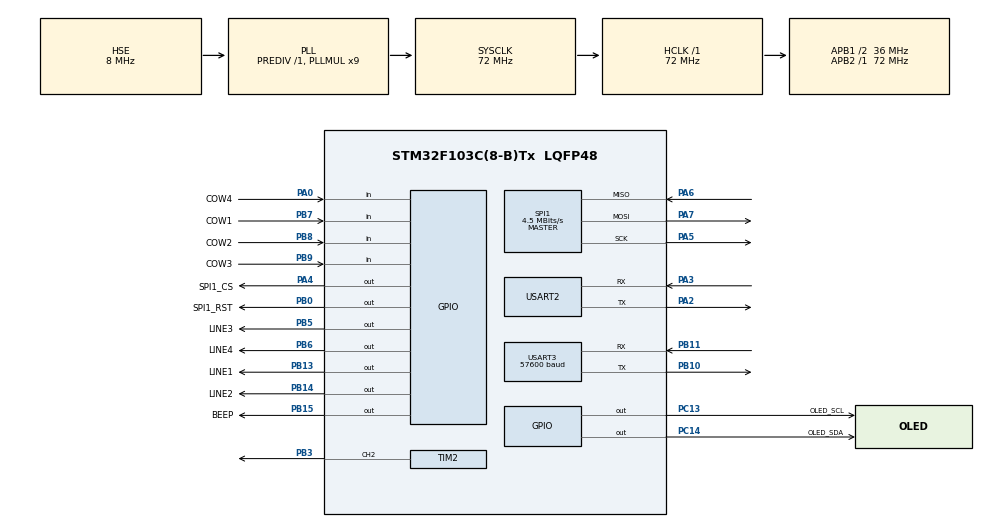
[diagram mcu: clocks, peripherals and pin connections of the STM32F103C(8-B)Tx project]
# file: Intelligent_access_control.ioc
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Mcu.Family=STM32F1
Mcu.Name=STM32F103C(8-B)Tx
Mcu.Package=LQFP48
NVIC.PriorityGroup=NVIC_PRIORITYGROUP_4
NVIC.SPI1_IRQn=true\:2\:0\:true\:false\:true\:true\:true\:true
NVIC.USART2_IRQn=true\:1\:0\:true\:false\:true\:true\:true\:true
NVIC.USART3_IRQn=true\:3\:0\:true\:false\:true\:true\:true\:true
PA0-WKUP.GPIO_Label=COW4
PA0-WKUP.GPIO_Mode=GPIO_MODE_INPUT
PA0-WKUP.GPIO_PuPd=GPIO_PULLUP
PA0-WKUP.Signal=GPIO_Input
PA13.Mode=Serial_Wire
PA13.Signal=SYS_JTMS-SWDIO
PA14.Mode=Serial_Wire
PA14.Signal=SYS_JTCK-SWCLK
PA2.Mode=Asynchronous
PA2.Signal=USART2_TX
PA3.Mode=Asynchronous
PA3.Signal=USART2_RX
PA4.GPIO_Label=SPI1_CS
PA4.GPIO_PuPd=GPIO_PULLUP
PA4.GPIO_Speed=GPIO_SPEED_FREQ_HIGH
PA4.PinState=GPIO_PIN_SET
PA4.Signal=GPIO_Output
PA5.Mode=Full_Duplex_Master
PA5.Signal=SPI1_SCK
PA6.Mode=Full_Duplex_Master
PA6.Signal=SPI1_MISO
PA7.Mode=Full_Duplex_Master
PA7.Signal=SPI1_MOSI
PB0.GPIO_Label=SPI1_RST
PB0.GPIO_ModeDefaultOutputPP=GPIO_MODE_OUTPUT_PP
PB0.GPIO_PuPd=GPIO_PULLUP
PB0.GPIO_Speed=GPIO_SPEED_FREQ_HIGH
PB0.PinState=GPIO_PIN_SET
PB0.Signal=GPIO_Output
PB10.Mode=Asynchronous
PB10.Signal=USART3_TX
PB11.Mode=Asynchronous
PB11.Signal=USART3_RX
PB13.GPIO_Label=LINE1
PB13.GPIO_ModeDefaultOutputPP=GPIO_MODE_OUTPUT_PP
PB13.GPIO_PuPd=GPIO_PULLUP
PB13.GPIO_Speed=GPIO_SPEED_FREQ_HIGH
PB13.PinState=GPIO_PIN_SET
PB13.Signal=GPIO_Output
PB14.GPIO_Label=LINE2
PB14.GPIO_ModeDefaultOutputPP=GPIO_MODE_OUTPUT_PP
PB14.GPIO_PuPd=GPIO_PULLUP
PB14.GPIO_Speed=GPIO_SPEED_FREQ_HIGH
PB14.PinState=GPIO_PIN_SET
PB14.Signal=GPIO_Output
PB15.GPIO_Label=BEEP
PB15.GPIO_ModeDefaultOutputPP=GPIO_MODE_OUTPUT_PP
PB15.GPIO_PuPd=GPIO_PULLUP
PB15.GPIO_Speed=GPIO_SPEED_FREQ_HIGH
PB15.PinState=GPIO_PIN_SET
PB15.Signal=GPIO_Output
PB3.Signal=S_TIM2_CH2
PB5.GPIO_Label=LINE3
PB5.GPIO_ModeDefaultOutputPP=GPIO_MODE_OUTPUT_PP
PB5.GPIO_PuPd=GPIO_PULLUP
PB5.GPIO_Speed=GPIO_SPEED_FREQ_HIGH
PB5.PinState=GPIO_PIN_SET
PB5.Signal=GPIO_Output
PB6.GPIO_Label=LINE4
PB6.GPIO_ModeDefaultOutputPP=GPIO_MODE_OUTPUT_PP
PB6.GPIO_PuPd=GPIO_PULLUP
PB6.GPIO_Speed=GPIO_SPEED_FREQ_HIGH
PB6.PinState=GPIO_PIN_SET
PB6.Signal=GPIO_Output
PB7.GPIO_Label=COW1
PB7.GPIO_PuPd=GPIO_PULLUP
PB7.Signal=GPIO_Input
PB8.GPIO_Label=COW2
PB8.GPIO_Mode=GPIO_MODE_INPUT
PB8.GPIO_PuPd=GPIO_PULLUP
PB8.Signal=GPIO_Input
PB9.GPIO_Label=COW3
PB9.GPIO_Mode=GPIO_MODE_INPUT
PB9.GPIO_PuPd=GPIO_PULLUP
PB9.Signal=GPIO_Input
PC13-TAMPER-RTC.GPIO_Label=OLED_SCL
PC13-TAMPER-RTC.GPIO_ModeDefaultOutputPP=GPIO_MODE_OUTPUT_PP
PC13-TAMPER-RTC.GPIO_PuPd=GPIO_PULLUP
PC13-TAMPER-RTC.GPIO_Speed=GPIO_SPEED_FREQ_HIGH
PC13-TAMPER-RTC.PinState=GPIO_PIN_SET
PC13-TAMPER-RTC.Signal=GPIO_Output
PC14-OSC32_IN.GPIO_Label=OLED_SDA
PC14-OSC32_IN.GPIO_ModeDefaultOutputPP=GPIO_MODE_OUTPUT_PP
PC14-OSC32_IN.GPIO_PuPd=GPIO_PULLUP
PC14-OSC32_IN.GPIO_Speed=GPIO_SPEED_FREQ_HIGH
PC14-OSC32_IN.PinState=GPIO_PIN_SET
PC14-OSC32_IN.Signal=GPIO_Output
PD0-OSC_IN.Mode=HSE-External-Oscillator
PD0-OSC_IN.Signal=RCC_OSC_IN
PD1-OSC_OUT.Mode=HSE-External-Oscillator
PD1-OSC_OUT.Signal=RCC_OSC_OUT
ProjectManager.HeapSize=0x200
ProjectManager.StackSize=0x400
ProjectManager.TargetToolchain=MDK-ARM V5.32
RCC.AHBFreq_Value=72000000
RCC.APB1CLKDivider=RCC_HCLK_DIV2
RCC.APB1Freq_Value=36000000
RCC.APB1TimFreq_Value=72000000
RCC.APB2Freq_Value=72000000
RCC.APB2TimFreq_Value=72000000
RCC.HCLKFreq_Value=72000000
RCC.PLLMUL=RCC_PLL_MUL9
RCC.PLLSourceVirtual=RCC_PLLSOURCE_HSE
RCC.SYSCLKFreq_VALUE=72000000
RCC.SYSCLKSource=RCC_SYSCLKSOURCE_PLLCLK
RCC.USBFreq_Value=72000000
SH.S_TIM2_CH2.0=TIM2_CH2,PWM Generation2 CH2
SPI1.BaudRatePrescaler=SPI_BAUDRATEPRESCALER_16
SPI1.CalculateBaudRate=4.5 MBits/s
SPI1.Direction=SPI_DIRECTION_2LINES
SPI1.Mode=SPI_MODE_MASTER
SPI1.VirtualType=VM_MASTER
TIM2.AutoReloadPreload=TIM_AUTORELOAD_PRELOAD_ENABLE
TIM2.Channel-PWM\ Generation2\ CH2=TIM_CHANNEL_2
TIM2.Period=999
TIM2.Prescaler=71
USART2.VirtualMode=VM_ASYNC
USART3.BaudRate=57600
USART3.VirtualMode=VM_ASYNC
VP_TIM2_VS_ClockSourceINT.Mode=Internal
board=custom

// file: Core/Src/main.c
/* USER CODE BEGIN Header */
/**
  ******************************************************************************
  * @file           : main.c
  * @brief          : Main program body
  ******************************************************************************
  * @attention
  *
  * Copyright (c) 2026 STMicroelectronics.
  * All rights reserved.
  *
  * This software is licensed under terms that can be found in the LICENSE file
  * in the root directory of this software component.
  * If no LICENSE file comes with this software, it is provided AS-IS.
  *
  ******************************************************************************
  */
/* USER CODE END Header */
#include "main.h"
#include "spi.h"
#include "tim.h"
#include "usart.h"
#include "gpio.h"

/* USER CODE BEGIN Includes */
#include "oled.h"
#include "matrix_keyboard.h"
#include "RC522.h"
#include "AS608.h"
#include "stm32f1xx_hal_flash.h"
#include "stm32f1xx_hal_flash_ex.h"
#include "string.h"
/* USER CODE END Includes */

/* USER CODE BEGIN PV */
/* Private variables ---------------------------------------------------------*/

// NFC卡片ID存储相关定义
#define MAX_NFC_IDS 10 // 最多存储10个NFC卡片ID
#define NFC_ID_SIZE 5 // NFC卡片ID大小（字节）
#define FLASH_PAGE_SIZE 0x400 // STM32F103C8T6的FLASH页面大小（1KB）
#define FLASH_START_ADDR 0x0801F000 // FLASH存储起始地址（选择最后一个页面）

uint8_t nfc_id_list[MAX_NFC_IDS][NFC_ID_SIZE]; // NFC卡片ID列表
uint8_t nfc_id_count = 0; // 已存储的NFC卡片ID数量
uint8_t saved_pin[4] = {0, 0, 0, 0}; // 存储的密码

/* USER CODE END PV */

void SystemClock_Config(void);

/* USER CODE BEGIN 0 */

/**
  * @brief  从FLASH读取NFC卡片ID列表
  * @param  无
  * @retval 无
  */
void ReadNFCIDsFromFlash(void)
{
  // 从FLASH读取NFC卡片ID数量
  nfc_id_count = *((uint16_t *)FLASH_START_ADDR);

  // 检查数量是否合法
  if (nfc_id_count > MAX_NFC_IDS)
  {
    nfc_id_count = 0;
    return;
  }

  // 从FLASH读取NFC卡片ID列表
  for (uint8_t i = 0; i < nfc_id_count; i++)
  {
    for (uint8_t j = 0; j < NFC_ID_SIZE; j++)
    {
      nfc_id_list[i][j] = *((uint16_t *)(FLASH_START_ADDR + 2 + i * NFC_ID_SIZE * 2 + j * 2));
    }
  }
}

/**
  * @brief  向FLASH写入NFC卡片ID列表
  * @param  无
  * @retval 无
  */
void WriteNFCIDsToFlash(void)
{
  FLASH_EraseInitTypeDef EraseInitStruct;
  uint32_t PageError = 0;

  // 解锁FLASH
  HAL_FLASH_Unlock();

  // 配置擦除参数
  EraseInitStruct.TypeErase = FLASH_TYPEERASE_PAGES;
  EraseInitStruct.PageAddress = FLASH_START_ADDR;
  EraseInitStruct.NbPages = 1;

  // 擦除FLASH页面
  if (HAL_FLASHEx_Erase(&EraseInitStruct, &PageError) != HAL_OK)
  {
    // 擦除失败
    HAL_FLASH_Lock();
    return;
  }

  // 写入NFC卡片ID数量
  if (HAL_FLASH_Program(FLASH_TYPEPROGRAM_HALFWORD, FLASH_START_ADDR, nfc_id_count) != HAL_OK)
  {
    // 写入失败
    HAL_FLASH_Lock();
    return;
  }

  // 写入NFC卡片ID列表
  for (uint8_t i = 0; i < nfc_id_count; i++)
  {
    for (uint8_t j = 0; j < NFC_ID_SIZE; j++)
    {
      if (HAL_FLASH_Program(FLASH_TYPEPROGRAM_HALFWORD, FLASH_START_ADDR + 2 + i * NFC_ID_SIZE * 2 + j * 2, nfc_id_list[i][j]) != HAL_OK)
      {
        // 写入失败
        HAL_FLASH_Lock();
        return;
      }
    }
  }

  // 锁定FLASH
  HAL_FLASH_Lock();
}

/**
  * @brief  检查NFC卡片ID是否已存在
  * @param  id: 要检查的NFC卡片ID
  * @retval 1: 已存在，0: 不存在
  */
uint8_t CheckNFCIDExists(uint8_t *id)
{
  for (uint8_t i = 0; i < nfc_id_count; i++)
  {
    if (memcmp(nfc_id_list[i], id, NFC_ID_SIZE) == 0)
    {
      return 1;
    }
  }
  return 0;
}

/**
  * @brief  添加新的NFC卡片ID到列表
  * @param  id: 要添加的NFC卡片ID
  * @retval 1: 添加成功，0: 添加失败（已满）
  */
uint8_t AddNFCID(uint8_t *id)
{
  if (nfc_id_count >= MAX_NFC_IDS)
  {
    return 0; // 已满
  }

  // 复制ID到列表
  memcpy(nfc_id_list[nfc_id_count], id, NFC_ID_SIZE);
  nfc_id_count++;

  // 写入FLASH
  WriteNFCIDsToFlash();

  return 1;
}

/**
  * @brief  从列表中删除NFC卡片ID
  * @param  id: 要删除的NFC卡片ID
  * @retval 1: 删除成功，0: 删除失败（未找到）
  */
uint8_t RemoveNFCID(uint8_t *id)
{
  uint8_t found = 0;

  // 查找ID在列表中的位置
  for (uint8_t i = 0; i < nfc_id_count; i++)
  {
    if (memcmp(nfc_id_list[i], id, NFC_ID_SIZE) == 0)
    {
      // 找到ID，将后面的ID前移
      for (uint8_t j = i; j < nfc_id_count - 1; j++)
      {
        memcpy(nfc_id_list[j], nfc_id_list[j + 1], NFC_ID_SIZE);
      }
      nfc_id_count--;
      found = 1;
      break;
    }
  }

  if (found)
  {
    // 写入FLASH
    WriteNFCIDsToFlash();
  }

  return found;
}

/**
  * @brief  从FLASH读取密码
  * @param  pin: 存储密码的数组
  * @retval 无
  */
void ReadPINFromFlash(uint8_t *pin)
{
  // 从FLASH读取密码
  for (uint8_t i = 0; i < 4; i++)
  {
    pin[i] = *((uint16_t *)(FLASH_START_ADDR + 2 + MAX_NFC_IDS * NFC_ID_SIZE * 2 + i * 2));
  }

  // 检查密码是否有效（如果FLASH中没有存储密码，使用默认密码0000）
  if (pin[0] > 9 || pin[1] > 9 || pin[2] > 9 || pin[3] > 9)
  {
    pin[0] = 0;
    pin[1] = 0;
    pin[2] = 0;
    pin[3] = 0;
  }
}

/**
  * @brief  向FLASH写入密码
  * @param  pin: 要写入的密码数组
  * @retval 无
  */
void WritePINToFlash(uint8_t *pin)
{
  FLASH_EraseInitTypeDef EraseInitStruct;
  uint32_t PageError = 0;

  // 解锁FLASH
  HAL_FLASH_Unlock();

  // 配置擦除参数
  EraseInitStruct.TypeErase = FLASH_TYPEERASE_PAGES;
  EraseInitStruct.PageAddress = FLASH_START_ADDR;
  EraseInitStruct.NbPages = 1;

  // 擦除FLASH页面
  if (HAL_FLASHEx_Erase(&EraseInitStruct, &PageError) != HAL_OK)
  {
    // 擦除失败
    HAL_FLASH_Lock();
    return;
  }

  // 写入NFC卡片ID数量
  if (HAL_FLASH_Program(FLASH_TYPEPROGRAM_HALFWORD, FLASH_START_ADDR, nfc_id_count) != HAL_OK)
  {
    // 写入失败
    HAL_FLASH_Lock();
    return;
  }

  // 写入NFC卡片ID列表
  for (uint8_t i = 0; i < nfc_id_count; i++)
  {
    for (uint8_t j = 0; j < NFC_ID_SIZE; j++)
    {
      if (HAL_FLASH_Program(FLASH_TYPEPROGRAM_HALFWORD, FLASH_START_ADDR + 2 + i * NFC_ID_SIZE * 2 + j * 2, nfc_id_list[i][j]) != HAL_OK)
      {
        // 写入失败
        HAL_FLASH_Lock();
        return;
      }
    }
  }

  // 写入密码
  for (uint8_t i = 0; i < 4; i++)
  {
    if (HAL_FLASH_Program(FLASH_TYPEPROGRAM_HALFWORD, FLASH_START_ADDR + 2 + MAX_NFC_IDS * NFC_ID_SIZE * 2 + i * 2, pin[i]) != HAL_OK)
    {
      // 写入失败
      HAL_FLASH_Lock();
      return;
    }
  }

  // 锁定FLASH
  HAL_FLASH_Lock();
}

/**
  * @brief  密码验证函数
  * @param  无
  * @retval 1: 验证成功，0: 验证失败
  */
uint8_t VerifyPIN(void)
{
  OLED_Clear();
  OLED_ShowString(0, 0, (uint8_t*)"Enter PIN code:", 8, 1);
  OLED_ShowString(0, 16, (uint8_t*)"Press #16 to confirm", 8, 1);
  OLED_Refresh();

  // 等待按键释放
  while (Matrix_Keyboard_Scan() != 0)
  {
    HAL_Delay(10);
  }

  // PIN码输入逻辑
  uint8_t pin_code[4] = {0};
  uint8_t pin_index = 0;
  uint8_t exit_flag = 0;

  while (!exit_flag)
  {
    uint8_t pin_key = Matrix_Keyboard_Scan();
    if (pin_key != 0)
    {
      if (pin_key == 16)
      {
        // 16号按键确认
        if (pin_index == 4)
        {
          exit_flag = 1;
        }
      }
      else if (pin_index < 4)
      {
        // 按键映射：1-3->1-3, 5-7->4-6, 9-11->7-9, 14->0
        uint8_t digit = 0;
        if (pin_key >= 1 && pin_key <= 3)
        {
          digit = pin_key; // 1->1, 2->2, 3->3
        }
        else if (pin_key >= 5 && pin_key <= 7)
        {
          digit = pin_key - 1; // 5->4, 6->5, 7->6
        }
        else if (pin_key >= 9 && pin_key <= 11)
        {
          digit = pin_key - 2; // 9->7, 10->8, 11->9
        }
        else if (pin_key == 14)
        {
          digit = 0; // 14->0
        }

        if (digit >= 0 && digit <= 9)
        {
          pin_code[pin_index] = digit;
          OLED_ShowNum(pin_index * 20, 8, digit, 1, 8, 1);
          OLED_Refresh();
          pin_index++;
        }
      }
      // 等待按键释放
      while (Matrix_Keyboard_Scan() != 0)
      {
        HAL_Delay(10);
      }
    }
    HAL_Delay(100);
  }

  // 验证PIN码
  uint8_t pin_match = 1;

  for (uint8_t i = 0; i < 4; i++)
  {
    if (pin_code[i] != saved_pin[i])
    {
      pin_match = 0;
      break;
    }
  }

  OLED_Clear();
  OLED_ShowString(0, 0, (uint8_t*)"Verifying PIN...", 8, 1);
  OLED_Refresh();
  HAL_Delay(1000);

  if (!pin_match)
  {
    // PIN码错误
    OLED_Clear();
    OLED_ShowString(0, 0, (uint8_t*)"PIN Error", 8, 1);
    OLED_ShowString(0, 8, (uint8_t*)"Access Denied", 8, 1);
    OLED_Refresh();
    HAL_Delay(2000);

    // 返回主页面
    OLED_Clear();
    OLED_ShowString(0, 0, (uint8_t*)"Wait for NFC card", 8, 1);
    OLED_ShowString(0, 8, (uint8_t*)"Wait for fingerprint", 8, 1);
    OLED_ShowString(0, 16, (uint8_t*)"Press #16 for PIN", 8, 1);
    OLED_ShowString(0, 24, (uint8_t*)"Press #4 to Reg", 8, 1);
    OLED_ShowString(0, 32, (uint8_t*)"Press #12 to Del", 8, 1);
    OLED_ShowString(0, 40, (uint8_t*)"Press #13 for FP Reg", 8, 1);
    OLED_ShowString(0, 48, (uint8_t*)"Press #15 to Del FP", 8, 1);
    OLED_ShowString(0, 56, (uint8_t*)"Press #8 to Change PIN", 8, 1);
    OLED_Refresh();
    return 0;
  }

  return 1;
}

/* USER CODE END 0 */

int main(void)
{

  /* MCU Configuration--------------------------------------------------------*/

  /* Reset of all peripherals, Initializes the Flash interface and the Systick. */
  HAL_Init();

  /* Configure the system clock */
  SystemClock_Config();

  /* Initialize all configured peripherals */
  MX_GPIO_Init();
  MX_SPI1_Init();
  MX_USART3_UART_Init();
  MX_USART2_UART_Init();
  MX_TIM2_Init();
  /* USER CODE BEGIN 2 */
   OLED_Init();
  OLED_ShowString(0,0,(uint8_t*)"Initializing...",8,1);
  OLED_Refresh();
  HAL_Delay(1000);
   HAL_GPIO_WritePin(GPIOB, GPIO_PIN_13, GPIO_PIN_RESET); // LAY1连接到PB13
	 HAL_GPIO_WritePin(GPIOB, GPIO_PIN_14, GPIO_PIN_RESET); // LAY1连接到PB13

  // 初始化后PWM输出SG90舵机的中间位置信号（90度）
  __HAL_TIM_SET_COMPARE(&htim2, TIM_CHANNEL_2, 1500); // 设置脉冲值为1500，对应1.5ms脉冲宽度
  HAL_TIM_PWM_Start(&htim2, TIM_CHANNEL_2); // 启动PWM输出

  PCD_Init(); // 初始化RC522
  AS608_Init(); // 初始化AS608

  ReadNFCIDsFromFlash(); // 从FLASH读取NFC卡片ID列表
  ReadPINFromFlash(saved_pin); // 从FLASH读取密码

  // AS608握手
  OLED_Clear();
  OLED_ShowString(0,0,(uint8_t*)"Checking AS608...",8,1);
  OLED_Refresh();

  uint32_t as608_addr = 0xffffffff;
  uint8_t handshakeResult = AS608_HandShake(&as608_addr);

  if (handshakeResult == AS608_ACK_OK)
  {
    // 握手成功
    OLED_Clear();
    OLED_ShowString(0, 0, (uint8_t*)"AS608 Handshake", 8, 1);
    OLED_ShowString(0, 8, (uint8_t*)"Success!", 8, 1);
    OLED_Refresh();
    HAL_Delay(2000);

    // 进入主页面
    OLED_Clear();
    OLED_ShowString(0, 0, (uint8_t*)"Wait for NFC card", 8, 1);
    OLED_ShowString(0, 8, (uint8_t*)"Wait for fingerprint", 8, 1);
    OLED_ShowString(0, 16, (uint8_t*)"Press #16 for PIN", 8, 1);
    OLED_ShowString(0, 24, (uint8_t*)"Press #4 to Reg", 8, 1);
    OLED_ShowString(0, 32, (uint8_t*)"Press #12 to Del", 8, 1);
    OLED_ShowString(0, 40, (uint8_t*)"Press #13 for FP Reg", 8, 1);
    OLED_ShowString(0, 48, (uint8_t*)"Press #15 to Del FP", 8, 1);
    OLED_Refresh();
  }
  else
  {
    // 握手失败
    OLED_Clear();
    OLED_ShowString(0, 0, (uint8_t*)"AS608 Handshake", 8, 1);
    OLED_ShowString(0, 8, (uint8_t*)"Failed!", 8, 1);
    OLED_Refresh();
    HAL_Delay(2000);
	while(1);
  }
  Matrix_Keyboard_Init();
  /* USER CODE END 2 */

  /* Infinite loop */
  while (1)
  {

    /* USER CODE BEGIN 3 */
	  // 初始化后PWM输出SG90舵机的中间位置信号（90度）
	#if 1
    // 串口2蓝牙通信处理
    static uint8_t bluetooth_buffer[5] = {0};
    static uint8_t bluetooth_index = 0;
    uint8_t rx_data;

    if (HAL_UART_Receive(&huart2, &rx_data, 1, 10) == HAL_OK)
    {
      if (rx_data == '\n' || rx_data == '\r')
      {
        // 接收到完整的密码
        if (bluetooth_index == 4)
        {
          // 验证密码
          uint8_t pin_match = 1;
          for (uint8_t i = 0; i < 4; i++)
          {
            if (bluetooth_buffer[i] - '0' != saved_pin[i])
            {
              pin_match = 0;
              break;
            }
          }

          if (pin_match)
          {
            // 密码正确，操作SG90
            OLED_Clear();
            OLED_ShowString(0, 0, (uint8_t*)"Bluetooth", 8, 1);
            OLED_ShowString(0, 8, (uint8_t*)"Verified", 8, 1);
            OLED_ShowString(0, 16, (uint8_t*)"Door Unlocked", 8, 1);
            OLED_Refresh();

            // 控制SG90舵机，完整转动一次
            __HAL_TIM_SET_COMPARE(&htim2, TIM_CHANNEL_2, 500); // 设置脉冲值为500，对应0度
            HAL_Delay(1000); // 等待舵机到位
            __HAL_TIM_SET_COMPARE(&htim2, TIM_CHANNEL_2, 1500); // 设置脉冲值为1500，对应90度
            HAL_Delay(1000); // 等待舵机到位
            __HAL_TIM_SET_COMPARE(&htim2, TIM_CHANNEL_2, 500); // 设置脉冲值为500，对应0度
            HAL_Delay(1000); // 等待舵机到位

            HAL_Delay(1000);

            // 返回主页面
            OLED_Clear();
            OLED_ShowString(0, 0, (uint8_t*)"Wait for NFC card", 8, 1);
            OLED_ShowString(0, 8, (uint8_t*)"Wait for fingerprint", 8, 1);
            OLED_ShowString(0, 16, (uint8_t*)"Press #16 for PIN", 8, 1);
            OLED_ShowString(0, 24, (uint8_t*)"Press #4 to Reg", 8, 1);
            OLED_ShowString(0, 32, (uint8_t*)"Press #12 to Del", 8, 1);
            OLED_ShowString(0, 40, (uint8_t*)"Press #13 for FP Reg", 8, 1);
            OLED_ShowString(0, 48, (uint8_t*)"Press #15 to Del FP", 8, 1);
            OLED_ShowString(0, 56, (uint8_t*)"Press #8 to Change PIN", 8, 1);
            OLED_Refresh();
          }
          else
          {
            // 密码错误，发送错误信息
            char error_msg[] = "Password Error\r\n";
            HAL_UART_Transmit(&huart2, (uint8_t*)error_msg, strlen(error_msg), 1000);

            // 触发蜂鸣器
            HAL_GPIO_WritePin(BEEP_GPIO_Port, BEEP_Pin, GPIO_PIN_RESET);
            HAL_Delay(3000);
            HAL_GPIO_WritePin(BEEP_GPIO_Port, BEEP_Pin, GPIO_PIN_SET);
          }
        }
        // 重置缓冲区
        bluetooth_index = 0;
        memset(bluetooth_buffer, 0, 5);
      }
      else if (bluetooth_index < 4 && rx_data >= '0' && rx_data <= '9')
      {
        // 接收数字字符
        bluetooth_buffer[bluetooth_index++] = rx_data;
      }
    }

    static uint8_t last_key = 0;
    uint8_t current_key = Matrix_Keyboard_Scan();

    // 键盘处理
    if (current_key != last_key && current_key != 0)
    {
      if (current_key == 4)
      {
        // 4号按键，进入NFC卡片注册模式
        // 密码验证
        if (!VerifyPIN())
        {
          continue;
        }

        OLED_Clear();
        OLED_ShowString(0, 0, (uint8_t*)"Place NFC Card", 8, 1);
        OLED_ShowString(0, 8, (uint8_t*)"to Register", 8, 1);
        OLED_Refresh();

        // 等待按键释放
        while (Matrix_Keyboard_Scan() != 0)
        {
          HAL_Delay(10);
        }

        // 等待NFC卡片
        uint8_t card_type[2] = {0};
        uint8_t card_id[5] = {0};
        uint8_t found = 0;

        while (!found)
        {
          if (PCD_Request(PICC_REQIDL, card_type) == PCD_OK)
          {
            if (PCD_Anticoll(card_id) == PCD_OK)
            {
              // 读取到卡片ID
              OLED_Clear();
              OLED_ShowString(0, 0, (uint8_t*)"NFC ID:", 8, 1);
              for (uint8_t i = 0; i < 4; i++)
              {
                OLED_ShowNum(i * 24, 16, card_id[i], 2, 8, 1);
              }
              OLED_Refresh();

              // 检查ID是否已存在
              if (CheckNFCIDExists(card_id))
              {
                // 已注册
                OLED_ShowString(0, 24, (uint8_t*)"Already Registered", 8, 1);
                OLED_Refresh();
                HAL_Delay(2000);
              }
              else
              {
                // 添加新ID
                if (AddNFCID(card_id))
                {
                  // 添加成功
                  OLED_ShowString(0, 24, (uint8_t*)"Registered Successfully", 8, 1);
                  OLED_Refresh();
                  HAL_Delay(2000);
                }
                else
                {
                  // 存储已满
                  OLED_ShowString(0, 24, (uint8_t*)"Storage Full", 8, 1);
                  OLED_Refresh();
                  HAL_Delay(2000);
                }
              }
              found = 1;
            }
          }
          HAL_Delay(100);
        }

        // 返回主页面
        OLED_Clear();
        OLED_ShowString(0, 0, (uint8_t*)"Wait for NFC card", 8, 1);
        OLED_ShowString(0, 8, (uint8_t*)"Wait for fingerprint", 8, 1);
        OLED_ShowString(0, 16, (uint8_t*)"Press #16 for PIN", 8, 1);
        OLED_ShowString(0, 24, (uint8_t*)"Press #4 to Reg", 8, 1);
        OLED_ShowString(0, 32, (uint8_t*)"Press #12 to Del", 8, 1);
        OLED_Refresh();
      } else if (current_key == 12)
      {
        // 12号按键，进入NFC卡片删除模式
        // 密码验证
        if (!VerifyPIN())
        {
          continue;
        }

        OLED_Clear();
        OLED_ShowString(0, 0, (uint8_t*)"Place NFC Card", 8, 1);
        OLED_ShowString(0, 8, (uint8_t*)"to Delete", 8, 1);
        OLED_Refresh();

        // 等待按键释放
        while (Matrix_Keyboard_Scan() != 0)
        {
          HAL_Delay(10);
        }

        // 等待NFC卡片
        uint8_t card_type[2] = {0};
        uint8_t card_id[5] = {0};
        uint8_t found = 0;

        while (!found)
        {
          if (PCD_Request(PICC_REQIDL, card_type) == PCD_OK)
          {
            if (PCD_Anticoll(card_id) == PCD_OK)
            {
              // 读取到卡片ID
              OLED_Clear();
              OLED_ShowString(0, 0, (uint8_t*)"NFC ID:", 8, 1);
              for (uint8_t i = 0; i < 4; i++)
              {
                OLED_ShowNum(i * 24, 16, card_id[i], 2, 8, 1);
              }
              OLED_Refresh();

              // 检查ID是否存在
              if (CheckNFCIDExists(card_id))
              {
                // 删除ID
                if (RemoveNFCID(card_id))
                {
                  // 删除成功
                  OLED_ShowString(0, 24, (uint8_t*)"Deleted Successfully", 8, 1);
                  OLED_Refresh();
                  HAL_Delay(2000);
                }
              }
              else
              {
                // 卡片未注册
                OLED_ShowString(0, 24, (uint8_t*)"Invalid Card", 8, 1);
                OLED_Refresh();
                HAL_Delay(2000);
              }
              found = 1;
            }
          }
          HAL_Delay(100);
        }

        // 返回主页面
        OLED_Clear();
        OLED_ShowString(0, 0, (uint8_t*)"Wait for NFC card", 8, 1);
        OLED_ShowString(0, 8, (uint8_t*)"Wait for fingerprint", 8, 1);
        OLED_ShowString(0, 16, (uint8_t*)"Press #16 for PIN", 8, 1);
        OLED_ShowString(0, 24, (uint8_t*)"Press #4 to Reg", 8, 1);
        OLED_ShowString(0, 32, (uint8_t*)"Press #12 to Del", 8, 1);
        OLED_ShowString(0, 40, (uint8_t*)"Press #13 for FP Reg", 8, 1);
        OLED_ShowString(0, 48, (uint8_t*)"Press #15 to Del FP", 8, 1);
        OLED_Refresh();
      } else if (current_key == 13)
      {
        // 13号按键，进入指纹注册模式
        // 密码验证
        if (!VerifyPIN())
        {
          continue;
        }

        OLED_Clear();
        OLED_ShowString(0, 0, (uint8_t*)"Fingerprint", 8, 1);
        OLED_ShowString(0, 8, (uint8_t*)"Enrollment", 8, 1);
        OLED_Refresh();

        // 等待按键释放
        while (Matrix_Keyboard_Scan() != 0)
        {
          HAL_Delay(10);
        }

        // 生成一个简单的指纹ID（从1开始）
        static uint16_t fp_id = 1;

        // 显示提示信息，给用户足够的准备时间
        OLED_Clear();
        OLED_ShowString(0, 0, (uint8_t*)"Fingerprint", 8, 1);
        OLED_ShowString(0, 8, (uint8_t*)"Enrollment", 8, 1);
        OLED_ShowString(0, 16, (uint8_t*)"Place finger", 8, 1);
        OLED_ShowString(0, 24, (uint8_t*)"on sensor", 8, 1);
        OLED_Refresh();

        // 给用户3秒的准备时间
        HAL_Delay(3000);

        // 调用AS608_Enroll函数进行指纹注册
        uint8_t result = AS608_Enroll(fp_id);

        if (result == AS608_ACK_OK)
        {
          // 注册成功
          OLED_Clear();
          OLED_ShowString(0, 0, (uint8_t*)"Enrollment", 8, 1);
          OLED_ShowString(0, 8, (uint8_t*)"Success!", 8, 1);
          char fp_id_str[10];
          sprintf(fp_id_str, "ID: %d", fp_id);
          OLED_ShowString(0, 16, (uint8_t*)fp_id_str, 8, 1);
          OLED_Refresh();
          HAL_Delay(2000);
          fp_id++;
          if (fp_id >= AS608_MAX_FINGER_NUM)
          {
            fp_id = 1; // 重置ID
          }
        }
        else
        {
          // 注册失败
          OLED_Clear();
          OLED_ShowString(0, 0, (uint8_t*)"Enrollment", 8, 1);
          OLED_ShowString(0, 8, (uint8_t*)"Failed!", 8, 1);
          OLED_ShowString(0, 16, (uint8_t*)AS608_GetErrorString(result), 8, 1);
          OLED_Refresh();
          HAL_Delay(2000);
        }

        // 返回主页面
        OLED_Clear();
        OLED_ShowString(0, 0, (uint8_t*)"Wait for NFC card", 8, 1);
        OLED_ShowString(0, 8, (uint8_t*)"Wait for fingerprint", 8, 1);
        OLED_ShowString(0, 16, (uint8_t*)"Press #16 for PIN", 8, 1);
        OLED_ShowString(0, 24, (uint8_t*)"Press #4 to Reg", 8, 1);
        OLED_ShowString(0, 32, (uint8_t*)"Press #12 to Del", 8, 1);
        OLED_ShowString(0, 40, (uint8_t*)"Press #13 for FP Reg", 8, 1);
        OLED_ShowString(0, 48, (uint8_t*)"Press #15 to Del FP", 8, 1);
        OLED_Refresh();
      }
      else if (current_key == 8)
      {
        // 8号按键，进入密码修改模式
        OLED_Clear();
        OLED_ShowString(0, 0, (uint8_t*)"Change PIN", 8, 1);
        OLED_Refresh();

        // 等待按键释放
        while (Matrix_Keyboard_Scan() != 0)
        {
          HAL_Delay(10);
        }

        // 1. 输入当前密码
        OLED_Clear();
        OLED_ShowString(0, 0, (uint8_t*)"Enter current PIN:", 8, 1);
        OLED_ShowString(0, 16, (uint8_t*)"Press #16 to confirm", 8, 1);
        OLED_Refresh();

        uint8_t current_pin[4] = {0};
        uint8_t pin_index = 0;
        uint8_t exit_flag = 0;

        while (!exit_flag)
        {
          uint8_t pin_key = Matrix_Keyboard_Scan();
          if (pin_key != 0)
          {
            if (pin_key == 16)
            {
              // 16号按键确认
              if (pin_index == 4)
              {
                exit_flag = 1;
              }
            }
            else if (pin_index < 4)
            {
              // 按键映射：1-3->1-3, 5-7->4-6, 9-11->7-9, 14->0
              uint8_t digit = 0;
              if (pin_key >= 1 && pin_key <= 3)
              {
                digit = pin_key; // 1->1, 2->2, 3->3
              }
              else if (pin_key >= 5 && pin_key <= 7)
              {
                digit = pin_key - 1; // 5->4, 6->5, 7->6
              }
              else if (pin_key >= 9 && pin_key <= 11)
              {
                digit = pin_key - 2; // 9->7, 10->8, 11->9
              }
              else if (pin_key == 14)
              {
                digit = 0; // 14->0
              }

              if (digit >= 0 && digit <= 9)
              {
                current_pin[pin_index] = digit;
                OLED_ShowNum(pin_index * 20, 8, digit, 1, 8, 1);
                OLED_Refresh();
                pin_index++;
              }
            }
            // 等待按键释放
            while (Matrix_Keyboard_Scan() != 0)
            {
              HAL_Delay(10);
            }
          }
          HAL_Delay(100);
        }

        // 2. 验证当前密码
        uint8_t pin_match = 1;

        for (uint8_t i = 0; i < 4; i++)
        {
          if (current_pin[i] != saved_pin[i])
          {
            pin_match = 0;
            break;
          }
        }

        if (!pin_match)
        {
          // 密码错误
          OLED_Clear();
          OLED_ShowString(0, 0, (uint8_t*)"PIN Error", 8, 1);
          OLED_ShowString(0, 8, (uint8_t*)"Access Denied", 8, 1);
          OLED_Refresh();
          HAL_Delay(2000);

          // 返回主页面
          OLED_Clear();
          OLED_ShowString(0, 0, (uint8_t*)"Wait for NFC card", 8, 1);
          OLED_ShowString(0, 8, (uint8_t*)"Wait for fingerprint", 8, 1);
          OLED_ShowString(0, 16, (uint8_t*)"Press #16 for PIN", 8, 1);
          OLED_ShowString(0, 24, (uint8_t*)"Press #4 to Reg", 8, 1);
          OLED_ShowString(0, 32, (uint8_t*)"Press #12 to Del", 8, 1);
          OLED_ShowString(0, 40, (uint8_t*)"Press #13 for FP Reg", 8, 1);
          OLED_ShowString(0, 48, (uint8_t*)"Press #15 to Del FP", 8, 1);
          OLED_ShowString(0, 56, (uint8_t*)"Press #8 to Change PIN", 8, 1);
          OLED_Refresh();
          continue;
        }

        // 3. 输入新密码
        OLED_Clear();
        OLED_ShowString(0, 0, (uint8_t*)"Enter new PIN:", 8, 1);
        OLED_ShowString(0, 16, (uint8_t*)"Press #16 to confirm", 8, 1);
        OLED_Refresh();

        uint8_t new_pin1[4] = {0};
        pin_index = 0;
        exit_flag = 0;

        while (!exit_flag)
        {
          uint8_t pin_key = Matrix_Keyboard_Scan();
          if (pin_key != 0)
          {
            if (pin_key == 16)
            {
              // 16号按键确认
              if (pin_index == 4)
              {
                exit_flag = 1;
              }
            }
            else if (pin_index < 4)
            {
              // 按键映射：1-3->1-3, 5-7->4-6, 9-11->7-9, 14->0
              uint8_t digit = 0;
              if (pin_key >= 1 && pin_key <= 3)
              {
                digit = pin_key; // 1->1, 2->2, 3->3
              }
              else if (pin_key >= 5 && pin_key <= 7)
              {
                digit = pin_key - 1; // 5->4, 6->5, 7->6
              }
              else if (pin_key >= 9 && pin_key <= 11)
              {
                digit = pin_key - 2; // 9->7, 10->8, 11->9
              }
              else if (pin_key == 14)
              {
                digit = 0; // 14->0
              }

              if (digit >= 0 && digit <= 9)
              {
                new_pin1[pin_index] = digit;
                OLED_ShowNum(pin_index * 20, 8, digit, 1, 8, 1);
                OLED_Refresh();
                pin_index++;
              }
            }
            // 等待按键释放
            while (Matrix_Keyboard_Scan() != 0)
            {
              HAL_Delay(10);
            }
          }
          HAL_Delay(100);
        }

        // 4. 再次输入新密码确认
        OLED_Clear();
        OLED_ShowString(0, 0, (uint8_t*)"Confirm new PIN:", 8, 1);
        OLED_ShowString(0, 16, (uint8_t*)"Press #16 to confirm", 8, 1);
        OLED_Refresh();

        uint8_t new_pin2[4] = {0};
        pin_index = 0;
        exit_flag = 0;

        while (!exit_flag)
        {
          uint8_t pin_key = Matrix_Keyboard_Scan();
          if (pin_key != 0)
          {
            if (pin_key == 16)
            {
              // 16号按键确认
              if (pin_index == 4)
              {
                exit_flag = 1;
              }
            }
            else if (pin_index < 4)
            {
              // 按键映射：1-3->1-3, 5-7->4-6, 9-11->7-9, 14->0
              uint8_t digit = 0;
              if (pin_key >= 1 && pin_key <= 3)
              {
                digit = pin_key; // 1->1, 2->2, 3->3
              }
              else if (pin_key >= 5 && pin_key <= 7)
              {
                digit = pin_key - 1; // 5->4, 6->5, 7->6
              }
              else if (pin_key >= 9 && pin_key <= 11)
              {
                digit = pin_key - 2; // 9->7, 10->8, 11->9
              }
              else if (pin_key == 14)
              {
                digit = 0; // 14->0
              }

              if (digit >= 0 && digit <= 9)
              {
                new_pin2[pin_index] = digit;
                OLED_ShowNum(pin_index * 20, 8, digit, 1, 8, 1);
                OLED_Refresh();
                pin_index++;
              }
            }
            // 等待按键释放
            while (Matrix_Keyboard_Scan() != 0)
            {
              HAL_Delay(10);
            }
          }
          HAL_Delay(100);
        }

        // 5. 检查两次输入是否一致
        uint8_t pin_equal = 1;
        for (uint8_t i = 0; i < 4; i++)
        {
          if (new_pin1[i] != new_pin2[i])
          {
            pin_equal = 0;
            break;
          }
        }

        if (!pin_equal)
        {
          // 两次输入不一致
          OLED_Clear();
          OLED_ShowString(0, 0, (uint8_t*)"PIN Mismatch", 8, 1);
          OLED_ShowString(0, 8, (uint8_t*)"Try again", 8, 1);
          OLED_Refresh();
          HAL_Delay(2000);
        }
        else
        {
          // 两次输入一致，保存新密码到FLASH
          memcpy(saved_pin, new_pin1, 4);
          WritePINToFlash(saved_pin);
          OLED_Clear();
          OLED_ShowString(0, 0, (uint8_t*)"PIN Changed", 8, 1);
          OLED_ShowString(0, 8, (uint8_t*)"Success!", 8, 1);
          OLED_Refresh();
          HAL_Delay(2000);
        }

        // 返回主页面
        OLED_Clear();
        OLED_ShowString(0, 0, (uint8_t*)"Wait for NFC card", 8, 1);
        OLED_ShowString(0, 8, (uint8_t*)"Wait for fingerprint", 8, 1);
        OLED_ShowString(0, 16, (uint8_t*)"Press #16 for PIN", 8, 1);
        OLED_ShowString(0, 24, (uint8_t*)"Press #4 to Reg", 8, 1);
        OLED_ShowString(0, 32, (uint8_t*)"Press #12 to Del", 8, 1);
        OLED_ShowString(0, 40, (uint8_t*)"Press #13 for FP Reg", 8, 1);
        OLED_ShowString(0, 48, (uint8_t*)"Press #15 to Del FP", 8, 1);
        OLED_ShowString(0, 56, (uint8_t*)"Press #8 to Change PIN", 8, 1);
        OLED_Refresh();
      } else if (current_key == 15)
      {
        // 15号按键，进入指纹删除模式
        // 密码验证
        if (!VerifyPIN())
        {
          continue;
        }

        OLED_Clear();
        OLED_ShowString(0, 0, (uint8_t*)"Fingerprint", 8, 1);
        OLED_ShowString(0, 8, (uint8_t*)"Deletion", 8, 1);
        OLED_Refresh();

        // 等待按键释放
        while (Matrix_Keyboard_Scan() != 0)
        {
          HAL_Delay(10);
        }

        // 显示提示信息
        OLED_Clear();
        OLED_ShowString(0, 0, (uint8_t*)"Place finger", 8, 1);
        OLED_ShowString(0, 8, (uint8_t*)"to delete", 8, 1);
        OLED_Refresh();

        // 给用户3秒的准备时间
        HAL_Delay(3000);

        // 验证指纹并获取其ID
        uint16_t fp_id = 0;
        uint16_t score = 0;
        uint8_t verify_result = AS608_VerifyFinger(&fp_id, &score);

        if (verify_result == AS608_ACK_OK)
        {
          // 指纹验证成功，删除该指纹
          uint8_t delete_result = AS608_DeleteChar(fp_id, 1);

          if (delete_result == AS608_ACK_OK)
          {
            // 删除成功
            OLED_Clear();
            OLED_ShowString(0, 0, (uint8_t*)"Deletion", 8, 1);
            OLED_ShowString(0, 8, (uint8_t*)"Success!", 8, 1);
            char fp_id_str[10];
            sprintf(fp_id_str, "ID: %d", fp_id);
            OLED_ShowString(0, 16, (uint8_t*)fp_id_str, 8, 1);
            OLED_Refresh();
            HAL_Delay(2000);
          }
          else
          {
            // 删除失败
            OLED_Clear();
            OLED_ShowString(0, 0, (uint8_t*)"Deletion", 8, 1);
            OLED_ShowString(0, 8, (uint8_t*)"Failed!", 8, 1);
            OLED_ShowString(0, 16, (uint8_t*)AS608_GetErrorString(delete_result), 8, 1);
            OLED_Refresh();
            HAL_Delay(2000);
          }
        }
        else
        {
          // 指纹验证失败
          OLED_Clear();
          OLED_ShowString(0, 0, (uint8_t*)"Deletion", 8, 1);
          OLED_ShowString(0, 8, (uint8_t*)"Failed!", 8, 1);
          OLED_ShowString(0, 16, (uint8_t*)"Finger not found", 8, 1);
          OLED_Refresh();

          // 触发蜂鸣器
          HAL_GPIO_WritePin(BEEP_GPIO_Port, BEEP_Pin, GPIO_PIN_RESET);
          HAL_Delay(3000);
          HAL_GPIO_WritePin(BEEP_GPIO_Port, BEEP_Pin, GPIO_PIN_SET);

          HAL_Delay(2000);
        }

        // 返回主页面
        OLED_Clear();
        OLED_ShowString(0, 0, (uint8_t*)"Wait for NFC card", 8, 1);
        OLED_ShowString(0, 8, (uint8_t*)"Wait for fingerprint", 8, 1);
        OLED_ShowString(0, 16, (uint8_t*)"Press #16 for PIN", 8, 1);
        OLED_ShowString(0, 24, (uint8_t*)"Press #4 to Reg", 8, 1);
        OLED_ShowString(0, 32, (uint8_t*)"Press #12 to Del", 8, 1);
        OLED_ShowString(0, 40, (uint8_t*)"Press #13 for FP Reg", 8, 1);
        OLED_ShowString(0, 48, (uint8_t*)"Press #15 to Del FP", 8, 1);
        OLED_ShowString(0, 56, (uint8_t*)"Press #8 to Change PIN", 8, 1);
        OLED_Refresh();
      }
      else if (current_key == 16)
      {
        // 16号按键，进入PIN码开门模式
        OLED_Clear();
        OLED_ShowString(0, 0, (uint8_t*)"Enter PIN code:", 8, 1);
        OLED_ShowString(0, 16, (uint8_t*)"Press #16 to confirm", 8, 1);
        OLED_Refresh();

        // 等待按键释放
        while (Matrix_Keyboard_Scan() != 0)
        {
          HAL_Delay(10);
        }

        // PIN码输入逻辑
        uint8_t pin_code[4] = {0};
        uint8_t pin_index = 0;
        uint8_t exit_flag = 0;

        while (!exit_flag)
        {
          uint8_t pin_key = Matrix_Keyboard_Scan();
          if (pin_key != 0)
          {
            if (pin_key == 16)
            {
              // 16号按键确认
              if (pin_index == 4)
              {
                // 验证PIN码
                uint8_t pin_match = 1;

                for (uint8_t i = 0; i < 4; i++)
                {
                  if (pin_code[i] != saved_pin[i])
                  {
                    pin_match = 0;
                    break;
                  }
                }

                OLED_Clear();
                OLED_ShowString(0, 0, (uint8_t*)"Verifying PIN...", 8, 1);
                OLED_Refresh();
                HAL_Delay(1000);

                if (pin_match)
                {
                  // PIN码正确
                  OLED_Clear();
                  OLED_ShowString(0, 0, (uint8_t*)"PIN Verified", 8, 1);
                  OLED_ShowString(0, 8, (uint8_t*)"Door Unlocked", 8, 1);
                  OLED_Refresh();

                  // 控制SG90舵机，完整转动一次
                  __HAL_TIM_SET_COMPARE(&htim2, TIM_CHANNEL_2, 500); // 设置脉冲值为500，对应0度
                  HAL_Delay(1000); // 等待舵机到位
                  __HAL_TIM_SET_COMPARE(&htim2, TIM_CHANNEL_2, 1500); // 设置脉冲值为1500，对应90度
                  HAL_Delay(1000); // 等待舵机到位
                  __HAL_TIM_SET_COMPARE(&htim2, TIM_CHANNEL_2, 500); // 设置脉冲值为500，对应0度
                  HAL_Delay(1000); // 等待舵机到位

                  HAL_Delay(1000);
                }
                else
                {
                  // PIN码错误
                  OLED_Clear();
                  OLED_ShowString(0, 0, (uint8_t*)"PIN Error", 8, 1);
                  OLED_ShowString(0, 8, (uint8_t*)"Access Denied", 8, 1);
                  OLED_Refresh();

                  // 触发蜂鸣器
                  HAL_GPIO_WritePin(BEEP_GPIO_Port, BEEP_Pin, GPIO_PIN_RESET);
                  HAL_Delay(3000);
                  HAL_GPIO_WritePin(BEEP_GPIO_Port, BEEP_Pin, GPIO_PIN_SET);

                  HAL_Delay(2000);
                }
              }
              exit_flag = 1;
            }
            else if (pin_index < 4)
            {
              // 按键映射：1-3->1-3, 5-7->4-6, 9-11->7-9, 14->0
              uint8_t digit = 0;
              if (pin_key >= 1 && pin_key <= 3)
              {
                digit = pin_key; // 1->1, 2->2, 3->3
              }
              else if (pin_key >= 5 && pin_key <= 7)
              {
                digit = pin_key - 1; // 5->4, 6->5, 7->6
              }
              else if (pin_key >= 9 && pin_key <= 11)
              {
                digit = pin_key - 2; // 9->7, 10->8, 11->9
              }
              else if (pin_key == 14)
              {
                digit = 0; // 14->0
              }

              if (digit != 0 || pin_key == 14)
              {
                pin_code[pin_index] = digit;
                pin_index++;

                // 显示输入的PIN码（显示明文）
                OLED_Clear();
                OLED_ShowString(0, 0, (uint8_t*)"Enter PIN code:", 8, 1);
                for (uint8_t i = 0; i < pin_index; i++)
                {
                  OLED_ShowNum(10 + i*16, 8, pin_code[i], 1, 8, 1);
                }
                OLED_ShowString(0, 16, (uint8_t*)"Press #16 to confirm", 8, 1);
                OLED_Refresh();

                // 等待按键释放
                while (Matrix_Keyboard_Scan() != 0)
                {
                  HAL_Delay(10);
                }
              }
            }
          }
          HAL_Delay(50); // 扫描间隔
        }

        // 等待16号按键释放
        while (Matrix_Keyboard_Scan() != 0)
        {
          HAL_Delay(10);
        }

        // 返回主页面
        OLED_Clear();
        OLED_ShowString(0, 0, (uint8_t*)"Wait for NFC card", 8, 1);
        OLED_ShowString(0, 8, (uint8_t*)"Wait for fingerprint", 8, 1);
        OLED_ShowString(0, 16, (uint8_t*)"Press #16 for PIN", 8, 1);
        OLED_ShowString(0, 24, (uint8_t*)"Press #4 to Reg", 8, 1);
        OLED_Refresh();
      }
      else
      {
        // 其他按键
        OLED_Clear();
        OLED_ShowString(0,0,(uint8_t*)"Key: ",8,1);
        OLED_ShowNum(40,0,current_key,2,8,1);
        OLED_Refresh();
      }
      last_key = current_key;
    }
    else if (current_key == 0)
    {
      last_key = 0;
    }

    // NFC卡片检测
    static uint8_t last_card[4] = {0};
    uint8_t card_type[2] = {0};
    uint8_t card_id[5] = {0};

    if (PCD_Request(PICC_REQIDL, card_type) == PCD_OK)
    {
      if (PCD_Anticoll(card_id) == PCD_OK)
      {
        // 检查卡片ID是否变化
        if (memcmp(card_id, last_card, 4) != 0)
        {
          OLED_Clear();
          OLED_ShowString(0,0,(uint8_t*)"NFC Card ID:",8,1);
          for (int i = 0; i < 4; i++)
          {
            OLED_ShowNum(10 + i*20, 8, card_id[i], 2, 8, 1);
          }
          OLED_Refresh();
          memcpy(last_card, card_id, 4);

          // 检查卡片ID是否已注册
          if (CheckNFCIDExists(card_id))
          {
            // 卡片已注册，验证成功
            OLED_ShowString(0, 16, (uint8_t*)"Access Granted", 8, 1);
            OLED_Refresh();

            // 控制SG90舵机，完整转动一次
            __HAL_TIM_SET_COMPARE(&htim2, TIM_CHANNEL_2, 500); // 设置脉冲值为500，对应0度
            HAL_Delay(1000); // 等待舵机到位
            __HAL_TIM_SET_COMPARE(&htim2, TIM_CHANNEL_2, 1500); // 设置脉冲值为1500，对应90度
            HAL_Delay(1000); // 等待舵机到位
            __HAL_TIM_SET_COMPARE(&htim2, TIM_CHANNEL_2, 500); // 设置脉冲值为500，对应0度
            HAL_Delay(1000); // 等待舵机到位

            HAL_Delay(1000);
          }
          else
          {
            // 卡片未注册
            OLED_ShowString(0, 16, (uint8_t*)"Access Denied", 8, 1);
            OLED_Refresh();

            // 触发蜂鸣器
            HAL_GPIO_WritePin(BEEP_GPIO_Port, BEEP_Pin, GPIO_PIN_RESET);
            HAL_Delay(3000);
            HAL_GPIO_WritePin(BEEP_GPIO_Port, BEEP_Pin, GPIO_PIN_SET);

            HAL_Delay(2000);
          }

          // 返回主页面
          OLED_Clear();
          OLED_ShowString(0, 0, (uint8_t*)"Wait for NFC card", 8, 1);
          OLED_ShowString(0, 8, (uint8_t*)"Wait for fingerprint", 8, 1);
          OLED_ShowString(0, 16, (uint8_t*)"Press #16 for PIN", 8, 1);
          OLED_ShowString(0, 24, (uint8_t*)"Press #4 to Reg", 8, 1);
          OLED_ShowString(0, 32, (uint8_t*)"Press #12 to Del", 8, 1);
          OLED_ShowString(0, 40, (uint8_t*)"Press #13 for FP Reg", 8, 1);
          OLED_ShowString(0, 48, (uint8_t*)"Press #15 to Del FP", 8, 1);
          OLED_Refresh();
        }
      }
    }
    else
    {
      // 清除last_card
      memset(last_card, 0, 4);
    }

    // 指纹检测
    static uint8_t last_finger = 0;
    uint16_t fp_id = 0;
    uint16_t score = 0;
    uint8_t finger_result = AS608_VerifyFinger(&fp_id, &score);

    if (finger_result == AS608_ACK_OK)
    {
      // 指纹验证成功
      if (!last_finger)
      {
        OLED_Clear();
        OLED_ShowString(0, 0, (uint8_t*)"Fingerprint", 8, 1);
        OLED_ShowString(0, 8, (uint8_t*)"Verified", 8, 1);
        char fp_info[20];
        sprintf(fp_info, "ID: %d, Score: %d", fp_id, score);
        OLED_ShowString(0, 16, (uint8_t*)fp_info, 8, 1);
        OLED_Refresh();

        // 控制SG90舵机，从0度转动到90度
        __HAL_TIM_SET_COMPARE(&htim2, TIM_CHANNEL_2, 500); // 设置脉冲值为500，对应0度
        HAL_Delay(1000); // 等待舵机到位
        __HAL_TIM_SET_COMPARE(&htim2, TIM_CHANNEL_2, 1500); // 设置脉冲值为1500，对应90度
        HAL_Delay(1000); // 等待舵机到位

        HAL_Delay(2000);

        // 返回主页面
        OLED_Clear();
        OLED_ShowString(0, 0, (uint8_t*)"Wait for NFC card", 8, 1);
        OLED_ShowString(0, 8, (uint8_t*)"Wait for fingerprint", 8, 1);
        OLED_ShowString(0, 16, (uint8_t*)"Press #16 for PIN", 8, 1);
        OLED_ShowString(0, 24, (uint8_t*)"Press #4 to Reg", 8, 1);
        OLED_ShowString(0, 32, (uint8_t*)"Press #12 to Del", 8, 1);
        OLED_ShowString(0, 40, (uint8_t*)"Press #13 for FP Reg", 8, 1);
        OLED_ShowString(0, 48, (uint8_t*)"Press #15 to Del FP", 8, 1);
        OLED_Refresh();
        last_finger = 1;
      }
    }
    else if (finger_result == AS608_ACK_NO_FOUND)
    {
      // 指纹未找到
      if (!last_finger)
      {
        OLED_Clear();
        OLED_ShowString(0, 0, (uint8_t*)"Fingerprint", 8, 1);
        OLED_ShowString(0, 8, (uint8_t*)"Not Found", 8, 1);
        OLED_Refresh();

        // 触发蜂鸣器
        HAL_GPIO_WritePin(BEEP_GPIO_Port, BEEP_Pin, GPIO_PIN_RESET);
        HAL_Delay(3000);
        HAL_GPIO_WritePin(BEEP_GPIO_Port, BEEP_Pin, GPIO_PIN_SET);

        HAL_Delay(1000);

        // 返回主页面
        OLED_Clear();
        OLED_ShowString(0, 0, (uint8_t*)"Wait for NFC card", 8, 1);
        OLED_ShowString(0, 8, (uint8_t*)"Wait for fingerprint", 8, 1);
        OLED_ShowString(0, 16, (uint8_t*)"Press #16 for PIN", 8, 1);
        OLED_ShowString(0, 24, (uint8_t*)"Press #4 to Reg", 8, 1);
        OLED_ShowString(0, 32, (uint8_t*)"Press #12 to Del", 8, 1);
        OLED_ShowString(0, 40, (uint8_t*)"Press #13 for FP Reg", 8, 1);
        OLED_ShowString(0, 48, (uint8_t*)"Press #15 to Del FP", 8, 1);
        OLED_Refresh();
        last_finger = 1;
      }
    }
    else if (finger_result == AS608_ACK_NO_FINGER)
    {
      // 没有检测到手指
      last_finger = 0;
    }
    else
    {
      // 其他错误
      if (!last_finger)
      {
        OLED_Clear();
        OLED_ShowString(0, 0, (uint8_t*)"Fingerprint", 8, 1);
        OLED_ShowString(0, 8, (uint8_t*)"Error", 8, 1);
        OLED_ShowString(0, 16, (uint8_t*)AS608_GetErrorString(finger_result), 8, 1);
        OLED_Refresh();

        // 触发蜂鸣器
        HAL_GPIO_WritePin(BEEP_GPIO_Port, BEEP_Pin, GPIO_PIN_RESET);
        HAL_Delay(3000);
        HAL_GPIO_WritePin(BEEP_GPIO_Port, BEEP_Pin, GPIO_PIN_SET);

        HAL_Delay(1000);

        // 返回主页面
        OLED_Clear();
        OLED_ShowString(0, 0, (uint8_t*)"Wait for NFC card", 8, 1);
        OLED_ShowString(0, 8, (uint8_t*)"Wait for fingerprint", 8, 1);
        OLED_ShowString(0, 16, (uint8_t*)"Press #16 for PIN", 8, 1);
        OLED_ShowString(0, 24, (uint8_t*)"Press #4 to Reg", 8, 1);
        OLED_ShowString(0, 32, (uint8_t*)"Press #12 to Del", 8, 1);
        OLED_ShowString(0, 40, (uint8_t*)"Press #13 for FP Reg", 8, 1);
        OLED_ShowString(0, 48, (uint8_t*)"Press #15 to Del FP", 8, 1);
        OLED_Refresh();
        last_finger = 1;
      }
    }

    HAL_Delay(100); // 消抖
		#endif
  }
  /* USER CODE END 3 */
}

void SystemClock_Config(void)
{
  RCC_OscInitTypeDef RCC_OscInitStruct = {0};
  RCC_ClkInitTypeDef RCC_ClkInitStruct = {0};

  /** Initializes the RCC Oscillators according to the specified parameters
  * in the RCC_OscInitTypeDef structure.
  */
  RCC_OscInitStruct.OscillatorType = RCC_OSCILLATORTYPE_HSE;
  RCC_OscInitStruct.HSEState = RCC_HSE_ON;
  RCC_OscInitStruct.HSEPredivValue = RCC_HSE_PREDIV_DIV1;
  RCC_OscInitStruct.HSIState = RCC_HSI_ON;
  RCC_OscInitStruct.PLL.PLLState = RCC_PLL_ON;
  RCC_OscInitStruct.PLL.PLLSource = RCC_PLLSOURCE_HSE;
  RCC_OscInitStruct.PLL.PLLMUL = RCC_PLL_MUL9;
  if (HAL_RCC_OscConfig(&RCC_OscInitStruct) != HAL_OK)
  {
    Error_Handler();
  }

  /** Initializes the CPU, AHB and APB buses clocks
  */
  RCC_ClkInitStruct.ClockType = RCC_CLOCKTYPE_HCLK|RCC_CLOCKTYPE_SYSCLK
                              |RCC_CLOCKTYPE_PCLK1|RCC_CLOCKTYPE_PCLK2;
  RCC_ClkInitStruct.SYSCLKSource = RCC_SYSCLKSOURCE_PLLCLK;
  RCC_ClkInitStruct.AHBCLKDivider = RCC_SYSCLK_DIV1;
  RCC_ClkInitStruct.APB1CLKDivider = RCC_HCLK_DIV2;
  RCC_ClkInitStruct.APB2CLKDivider = RCC_HCLK_DIV1;

  if (HAL_RCC_ClockConfig(&RCC_ClkInitStruct, FLASH_LATENCY_2) != HAL_OK)
  {
    Error_Handler();
  }
}

void Error_Handler(void)
{
  __disable_irq();
  while (1)
  {
  }
}
